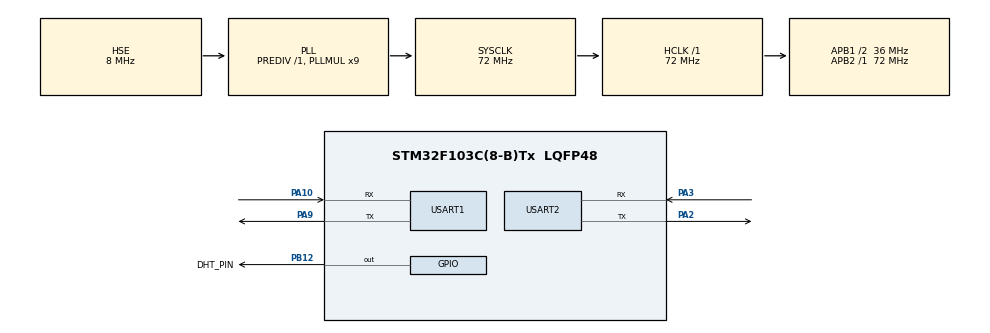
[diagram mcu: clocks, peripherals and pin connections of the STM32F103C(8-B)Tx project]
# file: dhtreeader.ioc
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Mcu.Family=STM32F1
Mcu.Name=STM32F103C(8-B)Tx
Mcu.Package=LQFP48
NVIC.PriorityGroup=NVIC_PRIORITYGROUP_4
NVIC.USART1_IRQn=true\:0\:0\:false\:false\:true\:true\:true
NVIC.USART2_IRQn=true\:0\:0\:false\:false\:true\:true\:true
PA10.Mode=Asynchronous
PA10.Signal=USART1_RX
PA2.Mode=Asynchronous
PA2.Signal=USART2_TX
PA3.Mode=Asynchronous
PA3.Signal=USART2_RX
PA9.Mode=Asynchronous
PA9.Signal=USART1_TX
PB12.GPIO_Label=DHT_PIN
PB12.Signal=GPIO_Output
PD0-OSC_IN.Mode=HSE-External-Oscillator
PD0-OSC_IN.Signal=RCC_OSC_IN
PD1-OSC_OUT.Mode=HSE-External-Oscillator
PD1-OSC_OUT.Signal=RCC_OSC_OUT
ProjectManager.HeapSize=0x200
ProjectManager.StackSize=0x400
ProjectManager.TargetToolchain=STM32CubeIDE
RCC.AHBFreq_Value=72000000
RCC.APB1CLKDivider=RCC_HCLK_DIV2
RCC.APB1Freq_Value=36000000
RCC.APB1TimFreq_Value=72000000
RCC.APB2Freq_Value=72000000
RCC.APB2TimFreq_Value=72000000
RCC.HCLKFreq_Value=72000000
RCC.PLLMUL=RCC_PLL_MUL9
RCC.PLLSourceVirtual=RCC_PLLSOURCE_HSE
RCC.SYSCLKFreq_VALUE=72000000
RCC.SYSCLKSource=RCC_SYSCLKSOURCE_PLLCLK
RCC.USBFreq_Value=72000000
TIM1.Period=0xffff-1
TIM1.Prescaler=72-1
USART1.VirtualMode=VM_ASYNC
USART2.VirtualMode=VM_ASYNC
VP_SYS_VS_ND.Mode=No_Debug
VP_TIM1_VS_ClockSourceINT.Mode=Internal
board=custom

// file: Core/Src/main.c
/* USER CODE BEGIN Header */
/**
  ******************************************************************************
  * @file           : main.c
  * @brief          : Main program body
  ******************************************************************************
  * @attention
  *
  * <h2><center>&copy; Copyright (c) 2020 STMicroelectronics.
  * All rights reserved.</center></h2>
  *
  * This software component is licensed by ST under BSD 3-Clause license,
  * the "License"; You may not use this file except in compliance with the
  * License. You may obtain a copy of the License at:
  *                        opensource.org/licenses/BSD-3-Clause
  *
  ******************************************************************************
  */
/* USER CODE END Header */

#include "main.h"
#include "tim.h"
#include "usart.h"
#include "gpio.h"

#include <stdlib.h>
#include <string.h>
#include <stdio.h>
#include <assert.h>
#include <stdint.h>

/* USER CODE BEGIN Includes */
#include "../../DHTlib/dht.h"
/* USER CODE END Includes */

/* USER CODE BEGIN PV */
uint8_t data[100];

/* USER CODE END PV */

void SystemClock_Config(void);

int main(void)
{

  /* MCU Configuration--------------------------------------------------------*/

  /* Reset of all peripherals, Initializes the Flash interface and the Systick. */
  HAL_Init();

  /* Configure the system clock */
  SystemClock_Config();

  /* Initialize all configured peripherals */
  MX_GPIO_Init();
  MX_USART1_UART_Init();
  MX_USART2_UART_Init();
  MX_TIM1_Init();
  /* USER CODE BEGIN 2 */
  HAL_TIM_Base_Start(&htim1);
  /* USER CODE END 2 */

  /* Infinite loop */
  while (1)
  {

    /* USER CODE BEGIN 3 */
  serialPrint("About to get Data\n");

  dhtInitialize();
  dhtAwaitResponse();
  uint8_t relHumByte1 = dhtGetData();
  uint8_t relHumByte2 = dhtGetData();
  uint8_t tempByte1 = dhtGetData();
  uint8_t tempByte2 = dhtGetData();
  uint8_t total = dhtGetData();

  serialPrint("Done getting Data\n");

  snprintf((char *)data, sizeof(data), "RH Byte: %i\nRH2 Byte: %i\nTemp  Byte: %i\nTemp2 Byte: %i\nTotal: %i\n", relHumByte1, relHumByte2, tempByte1, tempByte2, total);
  serialPrint((char *)data);

  HAL_Delay(1000);
  }
  /* USER CODE END 3 */
}

void SystemClock_Config(void)
{
  RCC_OscInitTypeDef RCC_OscInitStruct = {0};
  RCC_ClkInitTypeDef RCC_ClkInitStruct = {0};

  /** Initializes the CPU, AHB and APB busses clocks
  */
  RCC_OscInitStruct.OscillatorType = RCC_OSCILLATORTYPE_HSE;
  RCC_OscInitStruct.HSEState = RCC_HSE_ON;
  RCC_OscInitStruct.HSEPredivValue = RCC_HSE_PREDIV_DIV1;
  RCC_OscInitStruct.HSIState = RCC_HSI_ON;
  RCC_OscInitStruct.PLL.PLLState = RCC_PLL_ON;
  RCC_OscInitStruct.PLL.PLLSource = RCC_PLLSOURCE_HSE;
  RCC_OscInitStruct.PLL.PLLMUL = RCC_PLL_MUL9;
  if (HAL_RCC_OscConfig(&RCC_OscInitStruct) != HAL_OK)
  {
    Error_Handler();
  }
  /** Initializes the CPU, AHB and APB busses clocks
  */
  RCC_ClkInitStruct.ClockType = RCC_CLOCKTYPE_HCLK|RCC_CLOCKTYPE_SYSCLK
                              |RCC_CLOCKTYPE_PCLK1|RCC_CLOCKTYPE_PCLK2;
  RCC_ClkInitStruct.SYSCLKSource = RCC_SYSCLKSOURCE_PLLCLK;
  RCC_ClkInitStruct.AHBCLKDivider = RCC_SYSCLK_DIV1;
  RCC_ClkInitStruct.APB1CLKDivider = RCC_HCLK_DIV2;
  RCC_ClkInitStruct.APB2CLKDivider = RCC_HCLK_DIV1;

  if (HAL_RCC_ClockConfig(&RCC_ClkInitStruct, FLASH_LATENCY_2) != HAL_OK)
  {
    Error_Handler();
  }
}

/* USER CODE BEGIN 4 */
int serialPrint(const char *string_format, ...)
{
  if (DEVEL)
  {
    return printf(string_format);
  }
  else
  {
    return 0;
  }
}

int __io_putchar(uint8_t ch)
{
  if (ch)
  {
    UART1PutChar(ch);
    return ch;
  }
  else
  {
    return 0;
  }

}

void delayMicroseconds(uint16_t microseconds)
{
  __HAL_TIM_SET_COUNTER(&htim1, 0);
  while(__HAL_TIM_GET_COUNTER(&htim1) < microseconds);
}

/* USER CODE END 4 */

void Error_Handler(void)
{
}

/************************ (C) COPYRIGHT STMicroelectronics *****END OF FILE****/
